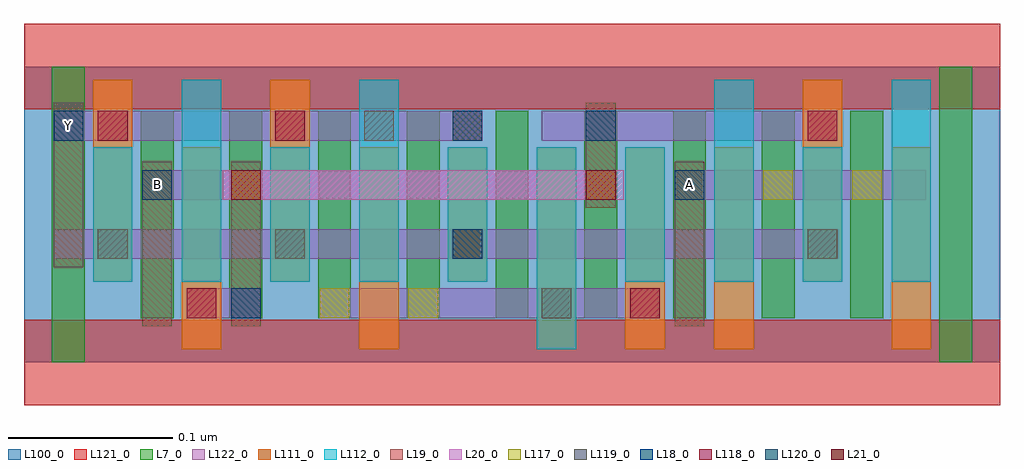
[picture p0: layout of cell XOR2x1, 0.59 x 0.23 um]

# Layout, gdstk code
import gdstk
lib = gdstk.Library(unit=1e-6, precision=2.5e-10)
def R(c, l, rs):  # rectangles x0, y0, x1, y1
    for r in rs: c.add(gdstk.rectangle(r[:2], r[2:], *l))
def A(c, l, x, y, w, h, nx, ny, dx, dy):  # array of equal rectangles
    R(c, l, [(x+i*dx, y+j*dy, x+i*dx+w, y+j*dy+h) for i in range(nx) for j in range(ny)])
L7_0 = (7, 0)
L18_0 = (18, 0)
L19_0 = (19, 0)
L20_0 = (20, 0)
L21_0 = (21, 0)
L100_0 = (100, 0)
L111_0 = (111, 0)
L112_0 = (112, 0)
L117_0 = (117, 0)
L118_0 = (118, 0)
L119_0 = (119, 0)
L120_0 = (120, 0)
L121_0 = (121, 0)
L122_0 = (122, 0)

xor2x1 = lib.new_cell('XOR2x1')
A(xor2x1, L7_0, 0.071, 0.027, 0.02, 0.126, 9, 1, 0.054, 0)
R(xor2x1, L7_0, [(0.017,0,0.037,0.18), (0.557,0,0.577,0.18)])
R(xor2x1, L18_0, [(0.126,0.027,0.144,0.045), (0.072,0.099,0.09,0.117), (0.396,0.099,0.414,0.117), (0.018,0.135,0.036,0.153), (0.342,0.135,0.36,0.153)])
R(xor2x1, L19_0, [(0.072,0.022,0.09,0.122), (0.126,0.022,0.144,0.122), (0.396,0.022,0.414,0.122), (0.018,0.058,0.036,0.158), (0.342,0.094,0.36,0.158)])
R(xor2x1, L20_0, [(0.121,0.099,0.365,0.117)])
R(xor2x1, L21_0, [(0.126,0.099,0.144,0.117), (0.342,0.099,0.36,0.117)])
R(xor2x1, L100_0, [(0,0,0.594,0.18)])
A(xor2x1, L111_0, 0.096, 0.008, 0.024, 0.123, 3, 1, 0.108, 0)
R(xor2x1, L111_0, [(0.366,0.008,0.39,0.131), (0.42,0.008,0.444,0.131), (0.528,0.008,0.552,0.131), (0.042,0.049,0.066,0.172), (0.15,0.049,0.174,0.172), (0.258,0.049,0.282,0.131), (0.474,0.049,0.498,0.172)])
A(xor2x1, L112_0, 0.042, 0.049, 0.024, 0.082, 5, 1, 0.108, 0)
R(xor2x1, L112_0, [(0.312,0.008,0.336,0.131), (0.096,0.049,0.12,0.172), (0.204,0.049,0.228,0.172), (0.42,0.049,0.444,0.172), (0.528,0.049,0.552,0.172)])
A(xor2x1, L117_0, 0.342, 0.099, 0.018, 0.018, 4, 1, 0.054, 0)
R(xor2x1, L117_0, [(0.18,0.027,0.198,0.045), (0.234,0.027,0.252,0.045), (0.072,0.099,0.09,0.117), (0.126,0.099,0.144,0.117)])
R(xor2x1, L118_0, [(0.099,0.027,0.117,0.045), (0.369,0.027,0.387,0.045), (0.045,0.135,0.063,0.153), (0.153,0.135,0.171,0.153), (0.477,0.135,0.495,0.153)])
A(xor2x1, L119_0, 0.045, 0.063, 0.018, 0.018, 3, 1, 0.108, 0)
R(xor2x1, L119_0, [(0.315,0.027,0.333,0.045), (0.477,0.063,0.495,0.081), (0.207,0.135,0.225,0.153), (0.261,0.135,0.279,0.153)])
R(xor2x1, L120_0, [(0.261,0.063,0.279,0.081), (0.261,0.135,0.279,0.153)])
R(xor2x1, L121_0, [(0,-0.026,0.594,0.026), (0,0.154,0.594,0.206)])
R(xor2x1, L122_0, [(0.099,0.027,0.144,0.045), (0.18,0.027,0.387,0.045), (0.018,0.063,0.495,0.081), (0.072,0.099,0.36,0.117), (0.396,0.099,0.549,0.117), (0.018,0.135,0.279,0.153), (0.315,0.135,0.495,0.153)])
xor2x1.add(gdstk.Label('Y', (0.027,0.144), layer=19, texttype=251))
xor2x1.add(gdstk.Label('B', (0.081,0.108), layer=19, texttype=251))
xor2x1.add(gdstk.Label('A', (0.405,0.108), layer=19, texttype=251))

lib.write_gds('XOR2x1.gds')
